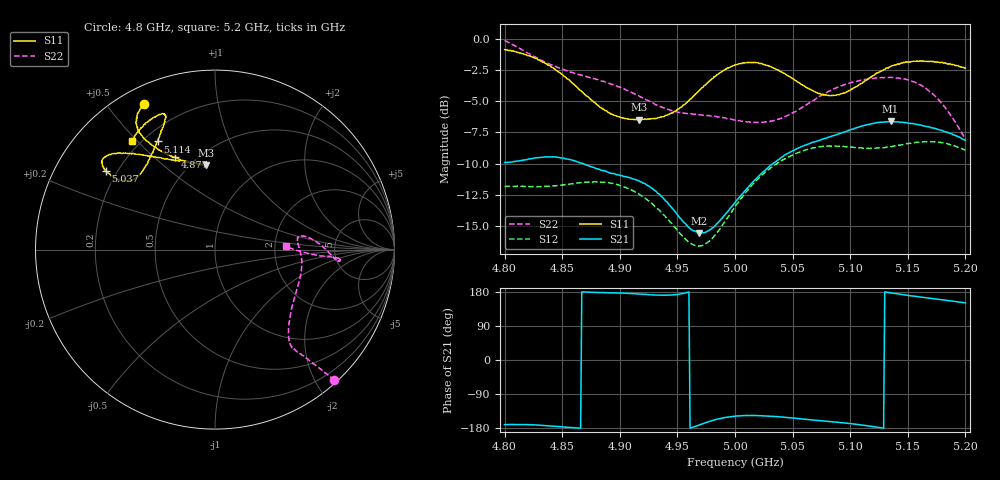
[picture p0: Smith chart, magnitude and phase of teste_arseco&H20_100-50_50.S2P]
! Network Analyzer HP8722D
! Hewlett-Packard
! Data name: Linha & Wilkinson
! Saver's name: Rodrigo Anjos
! Comments: Teste da utilização de aquisição
! continua pelo VNA HP8722D
! Time and date: 6/5/2025 12:59
!  Frequency  S11  S21  S12  S22
# HZ  S  MA R 50
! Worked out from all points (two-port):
!   401 points, 4.8 GHz to 5.2 GHz, reference 50 ohm
!   highest |S21| = -6.63 dB at 5.135 GHz (marker M1); lowest = -15.6 dB at 4.969 GHz (marker M2)
!   |S21| within 3 dB of the highest: 4.822 GHz to 4.854 GHz (31.93 MHz wide, 0.66 % of centre); 5.038 GHz to end of sweep (the widest 2 of 3)
!   lowest |S11| = -6.5 dB at 4.917 GHz (marker M3), VSWR 2.80, Z = 29.2 + j35.5 ohm
!   |S11| at or under -10 dB: nowhere
!   |S22| runs from -8.0 to -0.1 dB; largest |S21 - S12| = 0.83
!   S11 on the Smith chart (normalised r, x): 4.8 GHz: 0.07, +0.62; 4.877 GHz: 0.39, +0.58; 5.037 GHz: 0.16, +0.32; 5.114 GHz: 0.25, +0.57; 5.2 GHz: 0.17, +0.48
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4.8e9  0.9041 115.8  0.3195 -170.6  0.2568 -85.9  0.9839 -47.5
4.817e9  0.8667 120.0  0.3266 -170.4  0.2561 -82.3  0.8928 -48.5
4.835e9  0.7986 122.6  0.3367 -173.0  0.2565 -76.5  0.8076 -49.7
4.867e9  0.6142 118.0  0.3174 179.8  0.2658 -67.1  0.7147 -51.4
4.877e9  0.5603 113.5  0.3055 178.5  0.2672 -66.3  0.693 -51.7
4.899e9  0.4869 101.7  0.2847 176.6  0.26 -66.5  0.6414 -50.2
4.917e9  0.4735 96.2  0.269 174.1  0.238 -68.3  0.5887 -45.7
4.934e9  0.4828 99.3  0.2392 171.2  0.2067 -69.2  0.5384 -37.5
4.947e9  0.5097 107.3  0.2054 172.0  0.1774 -66.8  0.513 -28.7
4.969e9  0.6195 123.5  0.1667 -171.5  0.1481 -47.5  0.4965 -15.0
4.981e9  0.6963 130.0  0.1752 -159.0  0.1604 -33.7  0.4889 -8.7
5e9  0.7844 137.3  0.2208 -148.3  0.2128 -21.3  0.4718 -0.2
5.018e9  0.803 141.7  0.2738 -146.4  0.2693 -18.1  0.4621 6.0
5.037e9  0.7508 144.1  0.3264 -149.5  0.3177 -18.3  0.4754 9.1
5.067e9  0.6211 142.0  0.3848 -158.1  0.3652 -20.5  0.5609 4.7
5.088e9  0.5945 133.0  0.4126 -163.9  0.371 -23.7  0.6361 -1.7
5.114e9  0.6824 117.9  0.4516 -173.2  0.3641 -26.5  0.6876 -5.2
5.134e9  0.7694 111.3  0.4649 177.8  0.3689 -28.5  0.6991 -4.8
5.135e9  0.7738 111.2  0.4663 177.3  0.3699 -28.6  0.7009 -4.7
5.162e9  0.8135 112.8  0.4496 165.8  0.3864 -35.3  0.6495 -3.7
5.179e9  0.8043 118.6  0.4304 159.0  0.3837 -40.6  0.5537 -3.0
5.2e9  0.7632 127.4  0.3915 150.8  0.3581 -46.3  0.3963 2.5
